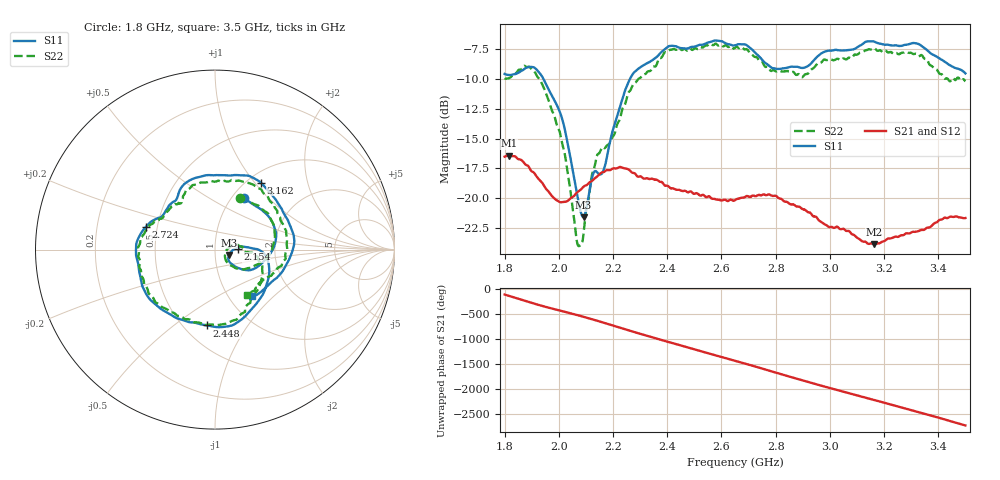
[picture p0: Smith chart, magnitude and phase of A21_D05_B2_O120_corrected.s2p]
! Created with skrf 1.9.0 (http://scikit-rf.org).
# Hz S RI R 50.0
!freq ReS11 ImS11 ReS21 ImS21 ReS12 ImS12 ReS22 ImS22
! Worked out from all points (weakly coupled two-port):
!   1601 points, 1.8 GHz to 3.5 GHz, reference 50 ohm
!   highest |S21| = -16.44 dB at 1.816 GHz (marker M1); lowest = -23.8 dB at 3.163 GHz (marker M2)
!   lowest |S11| = -21.6 dB at 2.091 GHz (marker M3), VSWR 1.18, Z = 58.3 - j3.56 ohm
!   |S11| at or under -10 dB: 1.943 GHz to 2.263 GHz (320 MHz wide, 15.2 % of centre)
!   |S22| runs from -24.0 to -7.1 dB; largest |S21 - S12| = 0.0027
!   S11 on the Smith chart (normalised r, x): 1.8 GHz: 1.13, +0.73; 2.154 GHz: 1.29, +0.01; 2.448 GHz: 0.65, -0.67; 2.724 GHz: 0.43, +0.13; 3.162 GHz: 1.15, +1.08; 3.5 GHz: 1.28, -0.75
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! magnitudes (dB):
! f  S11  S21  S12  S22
! 1.8 GHz  -9.6  -16.5  -16.5  -10.0
! 1.816 GHz  -9.7  -16.4  -16.4  -10.0
! 1.885 GHz  -9.1  -17.2  -17.3  -9.0
! 1.942 GHz  -10.0  -18.8  -18.8  -10.6
! 2.013 GHz  -13.4  -20.3  -20.3  -15.4
! 2.067 GHz  -19.6  -19.5  -19.5  -23.6
! 2.084 GHz  -21.3  -19.2  -19.2  -23.8
! 2.091 GHz  -21.6  -19.0  -19.1  -23.0
! 2.127 GHz  -17.9  -18.4  -18.4  -17.7
! 2.154 GHz  -18.0  -17.9  -17.9  -16.0
! 2.26 GHz  -10.1  -17.6  -17.6  -11.1
! 2.367 GHz  -8.0  -18.5  -18.5  -8.4
! 2.448 GHz  -7.4  -19.3  -19.3  -7.5
! 2.65 GHz  -7.2  -20.1  -20.1  -7.4
! 2.724 GHz  -7.8  -19.8  -19.8  -8.2
! 2.798 GHz  -9.1  -19.8  -19.8  -9.4
! 2.934 GHz  -8.6  -21.4  -21.4  -9.2
! 3.162 GHz  -6.9  -23.8  -23.8  -7.5
! 3.163 GHz  -6.9  -23.8  -23.8  -7.5
! 3.217 GHz  -7.2  -23.3  -23.3  -7.8
! 3.324 GHz  -7.1  -22.7  -22.7  -8.0
! 3.5 GHz  -9.6  -21.6  -21.6  -10.2
